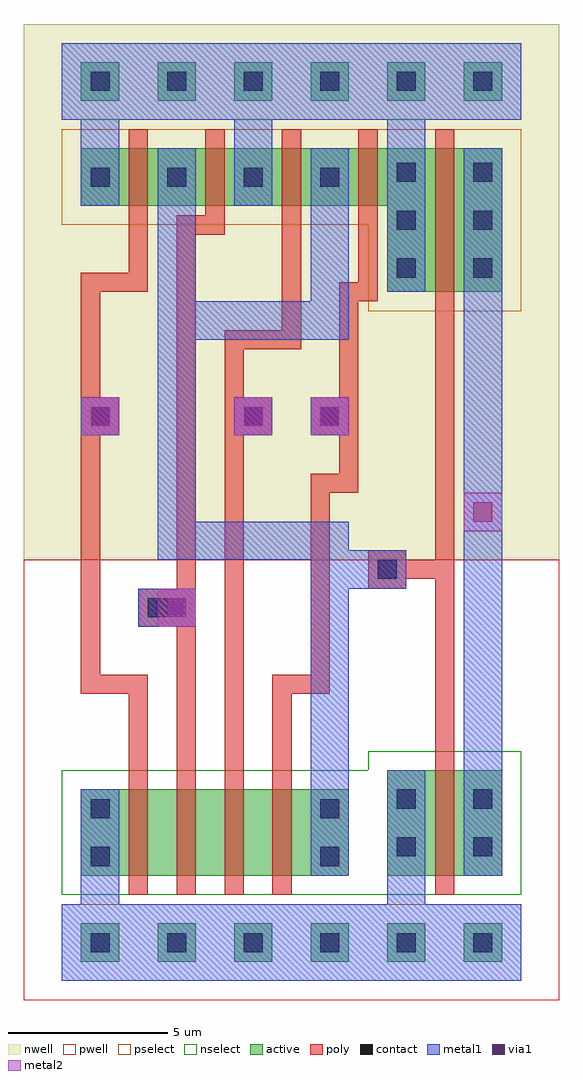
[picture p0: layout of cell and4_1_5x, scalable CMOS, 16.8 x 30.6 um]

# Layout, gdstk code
import gdstk
lib = gdstk.Library(unit=1e-6, precision=1e-09)
def R(c, l, rs):  # rectangles x0, y0, x1, y1
    for r in rs: c.add(gdstk.rectangle(r[:2], r[2:], *l))
def A(c, l, x, y, w, h, nx, ny, dx, dy):  # array of equal rectangles
    R(c, l, [(x+i*dx, y+j*dy, x+i*dx+w, y+j*dy+h) for i in range(nx) for j in range(ny)])
contact = (25, 0)
pwell = (41, 0)
nwell = (42, 0)
active = (43, 0)
pselect = (44, 0)
nselect = (45, 0)
poly = (46, 0)
metal1 = (49, 0)
via1 = (50, 0)
metal2 = (51, 0)

and4_1_5x = lib.new_cell('and4_1_5x')
A(and4_1_5x, contact, 0.3, -0.3, 0.6, 0.6, 6, 2, 2.4, 27)
A(and4_1_5x, contact, 9.9, 20.85, 0.6, 0.6, 1, 3, 0, 1.5)
A(and4_1_5x, contact, 12.3, 20.85, 0.6, 0.6, 1, 3, 0, 1.5)
A(and4_1_5x, contact, 0.3, 23.7, 0.6, 0.6, 4, 1, 2.4, 0)
R(and4_1_5x, contact, [(0.3,2.4,0.9,3), (7.5,2.4,8.1,3), (9.9,2.7,10.5,3.3), (12.3,2.7,12.9,3.3), (0.3,3.9,0.9,4.5), (7.5,3.9,8.1,4.5), (9.9,4.2,10.5,4.8), (12.3,4.2,12.9,4.8), (2.1,10.2,2.7,10.8), (9.3,11.4,9.9,12), (0.3,16.2,0.9,16.8), (5.1,16.2,5.7,16.8), (7.5,16.2,8.1,16.8)])
A(and4_1_5x, pwell, -0.9, -1.5, 3, 3, 6, 1, 2.4, 0)
A(and4_1_5x, pwell, -1.2, 0.3, 6, 6.3, 4, 1, 1.5, 0)
R(and4_1_5x, pwell, [(-1.8,-1.8,15,12), (-1.8,0.3,3,6.6), (5.4,0.3,10.2,6.6), (7.8,0.3,12.6,7.2), (8.4,0.3,14.4,7.2), (10.2,0.3,15,7.2), (-1.575,1.05,3,5.55), (-0.075,1.2,5.175,5.7), (1.425,1.2,6.675,5.7), (2.925,1.35,8.175,5.85), (5.175,1.35,9.9,5.85), (10.275,1.65,15,6.15), (7.95,2.1,12.525,6.6)])
A(and4_1_5x, nwell, -1.8, 21.3, 4.8, 5.4, 4, 1, 2.4, 0)
A(and4_1_5x, nwell, -1.2, 21.3, 6, 5.4, 4, 1, 2.4, 0)
A(and4_1_5x, nwell, -0.9, 25.5, 3, 3, 6, 1, 2.4, 0)
R(and4_1_5x, nwell, [(-1.8,12,15,28.8), (7.8,18.6,12.6,26.7), (8.4,18.6,14.4,26.7), (10.2,18.6,15,26.7), (10.275,19.8,14.85,24.3), (7.95,21.15,12.525,25.65), (7.875,21.45,12.45,25.95), (-1.65,21.75,2.925,26.25), (0.675,21.75,5.25,26.25), (3.075,21.75,7.65,26.25), (5.55,21.75,10.125,26.25), (0.75,22.05,5.325,26.55), (3.15,22.05,7.725,26.55), (5.475,22.05,10.05,26.55)])
A(and4_1_5x, active, 0, -0.6, 1.2, 1.2, 6, 2, 2.4, 27)
A(and4_1_5x, active, 0.6, 2.1, 2.4, 2.7, 4, 1, 1.5, 0)
A(and4_1_5x, active, 0, 23.1, 1.2, 1.8, 4, 1, 2.4, 0)
A(and4_1_5x, active, 0.6, 23.1, 2.4, 1.8, 4, 1, 2.4, 0)
R(and4_1_5x, active, [(0,2.1,1.2,4.8), (7.2,2.1,8.4,4.8), (9.6,2.1,10.8,5.4), (10.2,2.1,12.6,5.4), (12,2.1,13.2,5.4), (0.225,2.85,1.2,3.75), (1.725,3,3.375,3.9), (3.225,3,4.875,3.9), (4.725,3.15,6.375,4.05), (6.975,3.15,8.1,4.05), (12.075,3.45,13.2,4.35), (9.75,3.9,10.725,4.8), (9.6,20.4,10.8,24.9), (10.2,20.4,12.6,24.9), (12,20.4,13.2,24.9), (12.075,21.6,13.05,22.5), (9.75,22.95,10.725,23.85), (9.675,23.25,10.65,24.15), (0.15,23.55,1.125,24.45), (2.475,23.55,3.45,24.45), (4.875,23.55,5.85,24.45), (7.35,23.55,8.325,24.45), (2.55,23.85,3.525,24.75), (4.95,23.85,5.925,24.75), (7.275,23.85,8.25,24.75)])
A(and4_1_5x, pselect, -0.6, -1.2, 2.4, 2.4, 6, 1, 2.4, 0)
A(and4_1_5x, pselect, -0.6, 22.5, 2.4, 3, 4, 1, 2.4, 0)
A(and4_1_5x, pselect, 0, 22.5, 3.6, 3, 4, 1, 2.4, 0)
R(and4_1_5x, pselect, [(9,19.8,11.4,25.5), (9.6,19.8,13.2,25.5), (11.4,19.8,13.8,25.5), (11.475,21,13.65,23.1), (9.15,22.35,11.325,24.45), (9.075,22.65,11.25,24.75), (-0.45,22.95,1.725,25.05), (1.875,22.95,4.05,25.05), (4.275,22.95,6.45,25.05), (6.75,22.95,8.925,25.05), (1.95,23.25,4.125,25.35), (4.35,23.25,6.525,25.35), (6.675,23.25,8.85,25.35)])
A(and4_1_5x, nselect, 0, 1.5, 3.6, 3.9, 4, 1, 1.5, 0)
A(and4_1_5x, nselect, -0.6, 25.8, 2.4, 2.4, 6, 1, 2.4, 0)
R(and4_1_5x, nselect, [(-0.6,1.5,1.8,5.4), (6.6,1.5,9,5.4), (9,1.5,11.4,6), (9.6,1.5,13.2,6), (11.4,1.5,13.8,6), (-0.375,2.25,1.8,4.35), (1.125,2.4,3.975,4.5), (2.625,2.4,5.475,4.5), (4.125,2.55,6.975,4.65), (6.375,2.55,8.7,4.65), (11.475,2.85,13.8,4.95), (9.15,3.3,11.325,5.4)])
A(and4_1_5x, poly, 1.5, 1.5, 0.6, 3.9, 4, 1, 1.5, 0)
A(and4_1_5x, poly, 1.5, 22.5, 0.6, 3, 4, 1, 2.4, 0)
R(and4_1_5x, poly, [(11.1,1.5,11.7,6), (1.5,5.1,2.1,8.4), (3,5.1,3.6,10.8), (4.5,5.1,5.1,16.8), (6,5.1,6.6,8.4), (11.1,5.7,11.7,12), (0,7.8,2.1,8.4), (0,7.8,0.6,16.8), (6,7.8,7.8,8.4), (7.2,7.8,7.8,14.7), (1.8,9.9,3,11.1), (2.1,10.2,3.6,10.8), (2.1,10.2,3.6,10.8), (3,10.2,3.6,22.8), (9,11.1,10.2,12.3), (9.3,11.4,11.7,12), (11.1,11.4,11.7,20.1), (7.2,14.1,8.7,14.7), (8.1,14.1,8.7,16.8), (0,15.9,1.2,17.1), (4.8,15.9,6,17.1), (7.2,15.9,8.4,17.1), (0,16.2,0.6,21), (0,16.2,0.9,16.8), (4.5,16.2,5.7,16.8), (4.5,16.2,5.1,19.2), (7.5,16.2,8.7,16.8), (8.1,16.2,8.7,20.7), (4.5,18.6,6.9,19.2), (6.3,18.6,6.9,22.8), (11.1,19.8,11.7,25.5), (8.1,20.1,9.3,20.7), (8.7,20.1,9.3,22.8), (0,20.4,2.1,21), (1.5,20.4,2.1,22.8), (3,22.2,4.5,22.8)])
A(and4_1_5x, metal1, 0, -0.6, 1.2, 1.2, 6, 1, 2.4, 0)
A(and4_1_5x, metal1, 0, 23.1, 1.2, 1.8, 4, 1, 2.4, 0)
A(and4_1_5x, metal1, 0, 23.85, 1.2, 3.75, 3, 1, 4.8, 0)
A(and4_1_5x, metal1, -0.6, 25.8, 4.8, 2.4, 5, 1, 2.4, 0)
A(and4_1_5x, metal1, 0, 26.4, 1.2, 1.2, 4, 1, 2.4, 0)
R(and4_1_5x, metal1, [(-0.6,-1.2,1.8,1.2), (-0.6,-1.2,4.2,1.2), (-0.6,-1.2,9,1.2), (-0.6,-1.2,6.6,1.2), (1.8,-1.2,11.4,1.2), (8.85,-1.2,13.8,1.2), (8.85,-1.2,11.4,1.2), (0,-0.6,1.2,3.15), (9.6,-0.6,10.8,3.15), (0.15,-0.45,1.05,0.45), (0,2.1,1.2,4.8), (7.2,2.1,8.4,4.8), (9.6,2.1,10.8,5.4), (12,2.1,13.2,5.4), (7.2,3.75,8.4,12.3), (12,4.35,13.2,14.1), (1.8,9.9,3,11.1), (1.8,9.9,3.6,11.1), (2.4,9.9,3.6,11.1), (7.2,11.1,8.4,13.2), (7.2,11.1,10.2,12.3), (9,11.1,10.2,12.3), (2.4,12,3.6,20.1), (2.4,12,8.4,13.2), (12,12.9,13.2,14.1), (12,12.9,13.2,21.75), (0,15.9,1.2,17.1), (0,15.9,1.2,17.1), (0,15.9,1.2,17.1), (4.8,15.9,6,17.1), (4.8,15.9,6,17.1), (4.8,15.9,6,17.1), (7.2,15.9,8.4,17.1), (7.2,15.9,8.4,17.1), (7.35,16.05,8.25,16.95), (2.4,18.9,8.4,20.1), (2.4,18.9,3.6,24.15), (7.2,18.9,8.4,24.15), (9.6,20.4,10.8,24.9), (12,20.4,13.2,24.9), (-0.6,25.8,1.8,28.2), (9,25.8,11.4,28.2), (0,26.4,1.2,27.6), (4.8,26.4,8.4,27.6), (7.2,26.4,8.4,27.6), (9.6,26.4,10.8,27.6), (9.6,26.4,10.8,27.6), (12,26.4,13.2,27.6), (12,26.4,13.2,27.6), (9.75,26.55,13.05,27.45)])
R(and4_1_5x, via1, [(2.7,10.2,3.3,10.8), (12.3,13.2,12.9,13.8), (0.3,16.2,0.9,16.8), (5.1,16.2,5.7,16.8), (7.5,16.2,8.1,16.8)])
R(and4_1_5x, metal2, [(2.4,9.9,3.6,11.1), (12,12.9,13.2,14.1), (0,15.9,1.2,17.1), (4.8,15.9,6,17.1), (7.2,15.9,8.4,17.1)])

lib.write_gds('and4_1_5x.gds')
